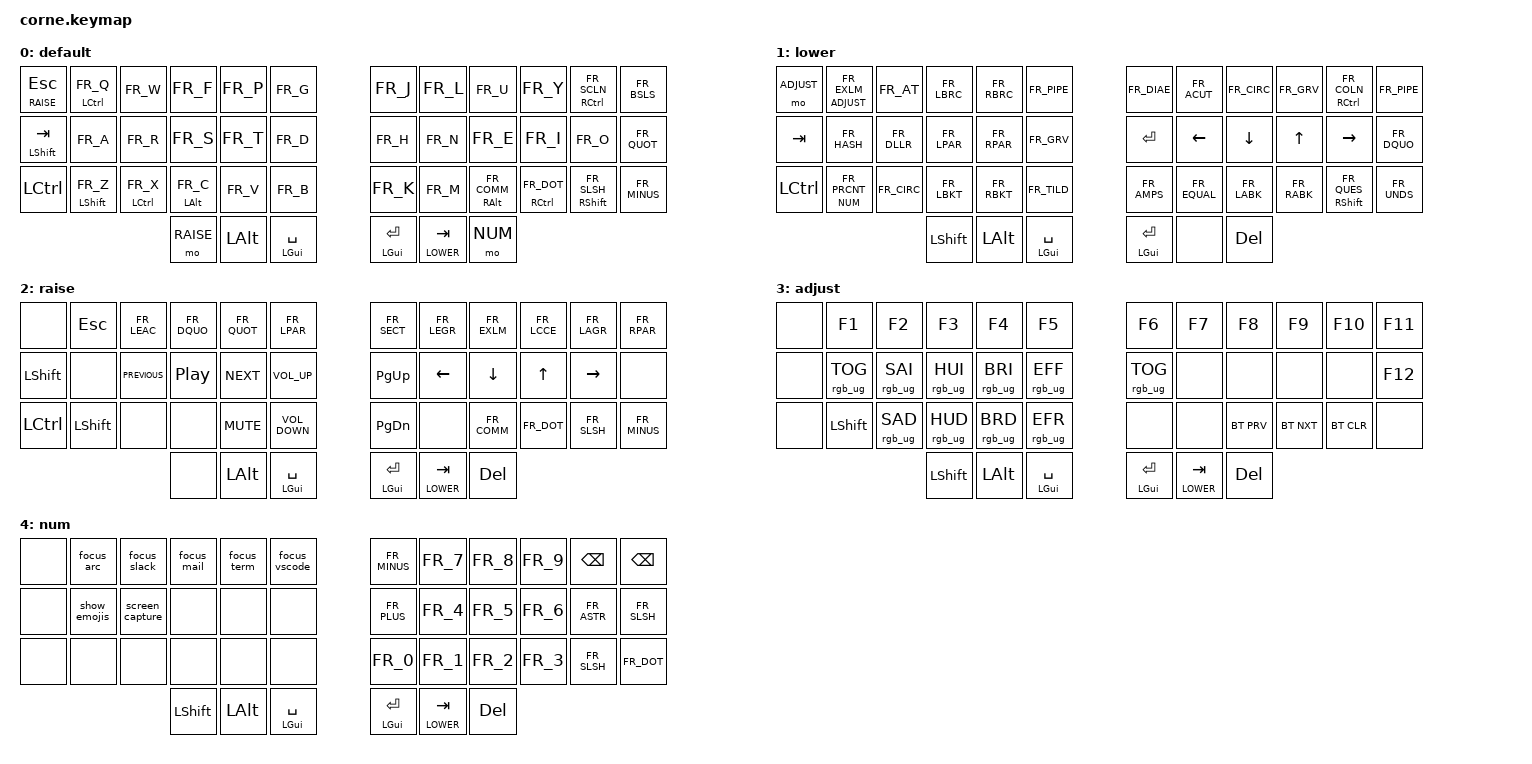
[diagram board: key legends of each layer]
/*
 * Copyright (c) 2020 The ZMK Contributors
 *
 * SPDX-License-Identifier: MIT
 */

#include <behaviors.dtsi>
#include <dt-bindings/zmk/keys.h>
#include <dt-bindings/zmk/bt.h>
#include <dt-bindings/zmk/rgb.h>
#include <dt-bindings/zmk/ext_power.h>
#include <dt-bindings/led/led.h>

#include "keymap_french_osx.h"

#define DEFAULT 0
#define LOWER   1
#define RAISE   2
#define ADJUST  3
#define NUM     4


&spi1 {
   compatible = "nordic,nrf-spim";
  /* Cannot be used together with i2c0. */
   status = "okay";
   mosi-pin = <6>;
   // Unused pins, needed for SPI definition, but not used by the ws2812 driver itself.
   sck-pin = <5>;
   miso-pin = <7>;

   led_strip: ws2812@0 {
      compatible = "worldsemi,ws2812-spi";
      label = "SK6812mini";

      /* SPI */
      reg = <0>; /* ignored, but necessary for SPI bindings */
      spi-max-frequency = <4000000>;

      /* WS2812 */
      chain-length = <27>; /* There are per-key RGB, but the first 6 are underglow */
      spi-one-frame = <0x70>;
      spi-zero-frame = <0x40>;
      color-mapping = <LED_COLOR_ID_GREEN LED_COLOR_ID_RED LED_COLOR_ID_BLUE>;
   };
};

/ {
        chosen {
                zmk,underglow = &led_strip;
        };
        behaviors {
                hm: homerow_mods {
                        compatible = "zmk,behavior-hold-tap";
                        label = "HOMEROW_MODS";
                        #binding-cells = <2>;
                        tapping-term-ms = <200>;
                        quick-tap-ms = <0>;
                        flavor = "tap-preferred";
                        bindings = <&kp>, <&kp>;
                };
        };

        combos {
                compatible = "zmk,combos";
                combo_esc {
                        timeout-ms = <50>;
                        key-positions = <1 2>;
                        bindings = <&kp TAB>;
                };
        };
        macros {
                focus_arc: focus_arc {
                        label = "ZM_focus_arc";
                        compatible = "zmk,behavior-macro";
                        #binding-cells = <0>;
                        bindings
                                = <&macro_press &kp LSHFT &kp LCTRL &kp LALT &kp LGUI>
                                , <&macro_tap &kp FR_Q>
                                , <&macro_release &kp LSHFT &kp LCTRL &kp LALT &kp LGUI>
                                ;
                };
                focus_slack: focus_slack {
                        label = "ZM_focus_slack";
                        compatible = "zmk,behavior-macro";
                        #binding-cells = <0>;
                        bindings
                                = <&macro_press &kp LSHFT &kp LCTRL &kp LALT &kp LGUI>
                                , <&macro_tap &kp FR_W>
                                , <&macro_release &kp LSHFT &kp LCTRL &kp LALT &kp LGUI>
                                ;
                };
                focus_mail: focus_mail {
                        label = "ZM_focus_mail";
                        compatible = "zmk,behavior-macro";
                        #binding-cells = <0>;
                        bindings
                                = <&macro_press &kp LSHFT &kp LCTRL &kp LALT &kp LGUI>
                                , <&macro_tap &kp FR_F>
                                , <&macro_release &kp LSHFT &kp LCTRL &kp LALT &kp LGUI>
                                ;
                };
                focus_term: focus_term {
                        label = "ZM_focus_term";
                        compatible = "zmk,behavior-macro";
                        #binding-cells = <0>;
                        bindings
                                = <&macro_press &kp LSHFT &kp LCTRL &kp LALT &kp LGUI>
                                , <&macro_tap &kp FR_P>
                                , <&macro_release &kp LSHFT &kp LCTRL &kp LALT &kp LGUI>
                                ;
                };
                focus_vscode: focus_vscode {
                        label = "ZM_focus_vscode";
                        compatible = "zmk,behavior-macro";
                        #binding-cells = <0>;
                        bindings
                                = <&macro_press &kp LSHFT &kp LCTRL &kp LALT &kp LGUI>
                                , <&macro_tap &kp FR_G>
                                , <&macro_release &kp LSHFT &kp LCTRL &kp LALT &kp LGUI>
                                ;
                };
                show_emojis: show_emojis {
                        label = "ZM_show_emojis";
                        compatible = "zmk,behavior-macro";
                        #binding-cells = <0>;
                        bindings
                                = <&macro_press &kp LCTRL &kp LGUI>
                                , <&macro_tap &kp SPACE>
                                , <&macro_release &kp LCTRL &kp LGUI>
                                ;
                };
                screen_capture: screen_capture {
                        label = "ZM_screen_capture";
                        compatible = "zmk,behavior-macro";
                        #binding-cells = <0>;
                        bindings
                                = <&macro_press &kp LSHFT &kp LCTRL &kp LGUI>
                                , <&macro_tap &kp FR_4>
                                , <&macro_release &kp LSHFT &kp LCTRL &kp LGUI>
                                ;
                };
        };

        keymap {
                compatible = "zmk,keymap";

                default_layer {
                        label = "default";

// ------------------------------------------------------------------------------------------------------
// | RSE/ESC  | CTRL/Q  |  W       |  F      |  P  |  G      |   |  J      |  L      |  U    |  Y     |  CTRL/;  |  \   |
// | SHFT/TAB | A       |  R       |  S      |  T  |  D      |   |  H      |  N      |  E    |  I     |  O       |  '   |
// | CTRL     | SHFT/Z  |  CTRL/X  |  ALT/C  |  V  |  B      |   |  N      |  M      | ALT/, | CTRL/. |  SHFT//  |  -   |
//                                 |  RAISE  | ALT | SPC/GUI |   | ENT/GUI | LWR/TAB | BKSP  |
                        bindings = <
   &lt RAISE ESC &hm LCTRL FR_Q  &kp FR_W        &kp FR_F      &kp FR_P  &kp FR_G         &kp FR_J       &kp FR_L       &kp FR_U         &kp FR_Y         &hm RCTRL FR_SCLN  &kp FR_BSLS
   &hm LSHFT TAB &kp FR_A        &kp FR_R        &kp FR_S      &kp FR_T  &kp FR_D         &kp FR_H       &kp FR_N       &kp FR_E         &kp FR_I         &kp FR_O           &kp FR_QUOT
   &kp LCTRL     &hm LSHFT FR_Z  &hm LCTRL FR_X  &hm LALT FR_C &kp FR_V  &kp FR_B         &kp FR_K       &kp FR_M       &hm RALT FR_COMM &hm RCTRL FR_DOT &hm RSHFT FR_SLSH  &kp FR_MINUS
                                                 &mo RAISE     &kp LALT  &hm LGUI SPACE   &hm LGUI RET   &lt LOWER TAB  &mo NUM
                        >;

                };
                lower_layer {
                        label = "lower";

// ----------------------------------------------------------------------------------
// | ADJUST |  ADJUST/! |  @  |  {   |  }   |  |       |   |  ¨      |  ´  |  ^  |  `  |  CTRL/:  |  |  |
// | TAB    |  #        |  $  |  (   |  )   |  `       |   |  ENT    | LFT | DWN |  UP |  RGT     |  "  |
// | CTRL   |  NUM/%    |  ^  |  [   |  ]   |  ~       |   |  &      |  =  |  <  |  >  |  SHFT/?  |  _  |
//                            | SHFT | ALT  | SPC/GUI  |   | ENT/GUI |     | DEL |
                        bindings = <
   &mo ADJUST &lt ADJUST FR_EXLM  &kp FR_AT    &kp FR_LBRC  &kp FR_RBRC  &kp FR_PIPE      &kp FR_DIAE   &kp FR_ACUT    &kp FR_CIRC &kp FR_GRV  &hm RCTRL FR_COLN  &kp FR_PIPE
   &kp TAB    &kp FR_HASH         &kp FR_DLLR  &kp FR_LPAR  &kp FR_RPAR  &kp FR_GRV       &kp RET       &kp LEFT       &kp DOWN     &kp UP     &kp RIGHT          &kp FR_DQUO
   &kp LCTRL  &lt NUM FR_PRCNT    &kp FR_CIRC  &kp FR_LBKT  &kp FR_RBKT  &kp FR_TILD      &kp FR_AMPS   &kp FR_EQUAL   &kp FR_LABK &kp FR_RABK &hm RSHFT FR_QUES  &kp FR_UNDS
                                               &kp LSHFT    &kp LALT     &hm LGUI SPACE   &hm LGUI RET  &none          &kp DEL
                        >;
                };
                
                raise_layer {
                        label = "raise";

// --------------------------------------------------------------------------------------------------
// |  |  ESC  |  é/2   |  "/3  |  '/4   |  (/5    |   |  §/6    |  è/7    |  !/8 |  ç/9 |  à/0 | )/° |
// |  |       | Prev   | Play  | Next   | VolUp   |   | PG_UP   | LFT     | DWN  |  UP  | RGT  |     |
// |  | SHFT  |        |       | Mute   | VolDn   |   | PG_DN   |         | ,    |  .   |  /   |  -  |
//                     |       | ALT    | SPC/GUI |   | ENT/GUI | LWR/TAB | DEL  |
                        bindings = <
   &none     &kp ESC     &kp FR_LEAC    &kp FR_DQUO      &kp FR_QUOT  &kp FR_LPAR        &kp FR_SECT  &kp FR_LEGR   &kp FR_EXLM  &kp FR_LCCE &kp FR_LAGR &kp FR_RPAR
   &kp LSHFT &none       &kp C_PREVIOUS &kp C_PLAY_PAUSE &kp C_NEXT   &kp C_VOLUME_UP    &kp PG_UP    &kp LEFT      &kp DOWN     &kp UP      &kp RIGHT   &none
   &kp LCTRL &kp LSHFT   &none          &none            &kp C_MUTE   &kp C_VOLUME_DOWN  &kp PG_DN    &none         &kp FR_COMM  &kp FR_DOT  &kp FR_SLSH &kp FR_MINUS
                                        &none            &kp LALT     &hm LGUI SPACE     &hm LGUI RET &lt LOWER TAB &kp DEL
                        >;
                };

                adjust_layer {
                        label = "adjust";

// -----------------------------------------------------------------------------------------------------
// |  | F1      | F2      | F3      | F4      | F5      |   | F6      | F7      | F8     | F9     | F10    | F11 |
// |  | RGB_TOG | RGB_SAI | RGB_HUI | RGB_BRI | RGB_EFF |   |         |         |        |        |        | F12 |
// |  | SHFT    | RGB_SAD | RGB_HUD | RGB_BRD | RGB_EFR |   |         |         | BT_PRV | BT_NXT | BT_CLR |     |
//                        | SHFT    | ALT     | SPC/GUI |   | ENT/GUI | LWR/TAB | DEL    |
                        bindings = <
   &none  &kp F1            &kp F2          &kp F3          &kp F4          &kp F5           &kp F6           &kp F7        &kp F8       &kp F9      &kp F10      &kp F11
   &none  &rgb_ug RGB_TOG   &rgb_ug RGB_SAI &rgb_ug RGB_HUI &rgb_ug RGB_BRI &rgb_ug RGB_EFF  &rgb_ug RGB_TOG  &none         &none        &none       &none        &kp F12
   &none  &kp LSHFT         &rgb_ug RGB_SAD &rgb_ug RGB_HUD &rgb_ug RGB_BRD &rgb_ug RGB_EFR  &none            &none         &bt BT_PRV   &bt BT_NXT  &bt BT_CLR   &none
                                            &kp LSHFT       &kp LALT        &hm LGUI SPACE   &hm LGUI RET     &lt LOWER TAB &kp DEL
                        >;
                };

                num_layer {
                        label = "num";

// --------------------------------------------------------------------------------------------------
// |  | Arc | Slack          | Mail | iTerm |  VScode |  | -       | è/7     | !/8 | ç/9 | BSPC | - |
// |  |  👻 | Screen Capture |      |       |         |  | +       | '/4     | (/5 | §/6 | *    | / |
// |  |     |                |      |       |         |  | à/0     | &/1     | é/2 | "/3 | /    | . |
//                           | SHFT | ALT   | SPC/GUI |  | ENT/GUI | LWR/TAB | DEL |
                        bindings = <
   &none  &focus_arc    &focus_slack     &focus_mail &focus_term &focus_vscode   &kp FR_MINUS &kp FR_7      &kp FR_8  &kp FR_9  &kp BSPC     &kp BSPC
   &none  &show_emojis  &screen_capture  &none       &none       &none           &kp FR_PLUS  &kp FR_4      &kp FR_5  &kp FR_6  &kp FR_ASTR  &kp FR_SLSH
   &none  &none         &none            &none       &none       &none           &kp FR_0     &kp FR_1      &kp FR_2  &kp FR_3  &kp FR_SLSH  &kp FR_DOT
                                         &kp LSHFT   &kp LALT    &hm LGUI SPACE  &hm LGUI RET &lt LOWER TAB &kp DEL
                        >;
                };
        };
};
